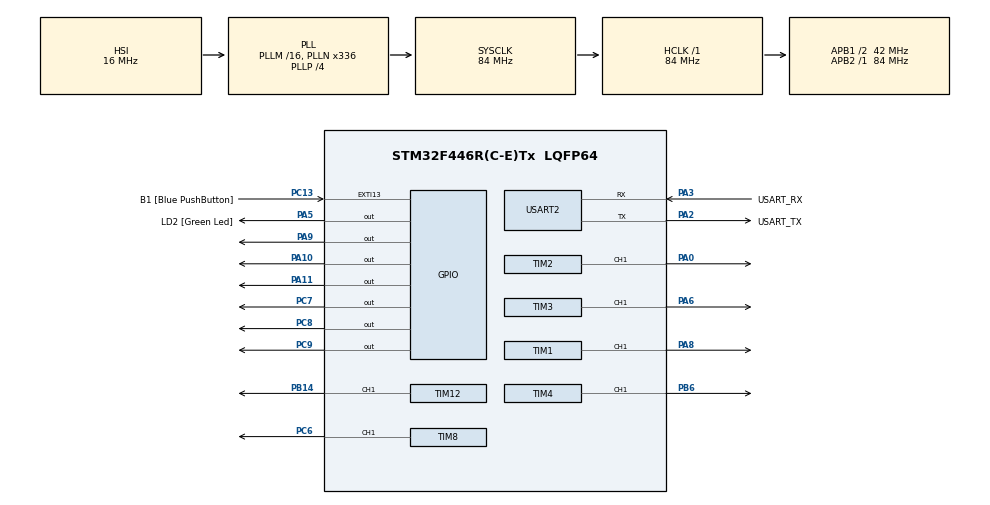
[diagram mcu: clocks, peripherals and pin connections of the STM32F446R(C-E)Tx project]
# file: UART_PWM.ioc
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Mcu.Family=STM32F4
Mcu.Name=STM32F446R(C-E)Tx
Mcu.Package=LQFP64
NVIC.PriorityGroup=NVIC_PRIORITYGROUP_0
NVIC.TIM1_TRG_COM_TIM11_IRQn=true\:0\:0\:false\:false\:true\:true\:true\:true
NVIC.TIM2_IRQn=true\:0\:0\:false\:false\:true\:true\:true\:true
NVIC.TIM3_IRQn=true\:0\:0\:false\:false\:true\:true\:true\:true
NVIC.TIM4_IRQn=true\:0\:0\:false\:false\:true\:true\:true\:true
NVIC.TIM8_BRK_TIM12_IRQn=true\:0\:0\:false\:false\:true\:true\:true\:true
NVIC.USART2_IRQn=true\:0\:0\:false\:false\:true\:true\:true\:true
PA0-WKUP.Signal=S_TIM2_CH1_ETR
PA10.Signal=GPIO_Output
PA11.Signal=GPIO_Output
PA13.GPIO_Label=TMS
PA13.Mode=Serial_Wire
PA13.Signal=SYS_JTMS-SWDIO
PA14.GPIO_Label=TCK
PA14.Mode=Serial_Wire
PA14.Signal=SYS_JTCK-SWCLK
PA2.GPIO_Label=USART_TX
PA2.Mode=Asynchronous
PA2.Signal=USART2_TX
PA3.GPIO_Label=USART_RX
PA3.Mode=Asynchronous
PA3.Signal=USART2_RX
PA5.GPIO_Label=LD2 [Green Led]
PA5.Signal=GPIO_Output
PA6.Signal=S_TIM3_CH1
PA8.Signal=S_TIM1_CH1
PA9.Signal=GPIO_Output
PB14.Signal=S_TIM12_CH1
PB3.GPIO_Label=SWO
PB3.Signal=SYS_JTDO-SWO
PB6.Signal=S_TIM4_CH1
PC13.GPIO_Label=B1 [Blue PushButton]
PC13.GPIO_ModeDefaultEXTI=GPIO_MODE_IT_FALLING
PC13.Signal=GPXTI13
PC14-OSC32_IN.Mode=LSE-External-Oscillator
PC14-OSC32_IN.Signal=RCC_OSC32_IN
PC15-OSC32_OUT.Mode=LSE-External-Oscillator
PC15-OSC32_OUT.Signal=RCC_OSC32_OUT
PC6.Signal=S_TIM8_CH1
PC7.Signal=GPIO_Output
PC8.Signal=GPIO_Output
PC9.Signal=GPIO_Output
PH0-OSC_IN.Mode=HSE-External-Oscillator
PH0-OSC_IN.Signal=RCC_OSC_IN
PH1-OSC_OUT.Mode=HSE-External-Oscillator
PH1-OSC_OUT.Signal=RCC_OSC_OUT
ProjectManager.HeapSize=0x200
ProjectManager.StackSize=0x400
ProjectManager.TargetToolchain=STM32CubeIDE
RCC.48MHZClocksFreq_Value=84000000
RCC.AHBFreq_Value=84000000
RCC.APB1CLKDivider=RCC_HCLK_DIV2
RCC.APB1Freq_Value=42000000
RCC.APB1TimFreq_Value=84000000
RCC.APB2Freq_Value=84000000
RCC.APB2TimFreq_Value=84000000
RCC.CortexFreq_Value=84000000
RCC.FLatency-AdvancedSettings=FLASH_LATENCY_2
RCC.HCLKFreq_Value=84000000
RCC.HSE_VALUE=8000000
RCC.HSI_VALUE=16000000
RCC.PLLN=336
RCC.PLLP=RCC_PLLP_DIV4
RCC.SYSCLKFreq_VALUE=84000000
RCC.SYSCLKSource=RCC_SYSCLKSOURCE_PLLCLK
RCC.USBFreq_Value=168000000
RCC.VCOOutputFreq_Value=336000000
SH.S_TIM12_CH1.0=TIM12_CH1,PWM Generation1 CH1
SH.S_TIM1_CH1.0=TIM1_CH1,PWM Generation1 CH1
SH.S_TIM2_CH1_ETR.0=TIM2_CH1,PWM Generation1 CH1
SH.S_TIM3_CH1.0=TIM3_CH1,PWM Generation1 CH1
SH.S_TIM4_CH1.0=TIM4_CH1,PWM Generation1 CH1
SH.S_TIM8_CH1.0=TIM8_CH1,PWM Generation1 CH1
TIM1.Channel-PWM\ Generation1\ CH1=TIM_CHANNEL_1
TIM1.Period=100
TIM1.Pulse-PWM\ Generation1\ CH1=1
TIM12.Channel-PWM\ Generation1\ CH1=TIM_CHANNEL_1
TIM12.Period=100
TIM12.Pulse-PWM\ Generation1\ CH1=1
TIM2.Channel-PWM\ Generation1\ CH1=TIM_CHANNEL_1
TIM2.Period=100
TIM2.Pulse-PWM\ Generation1\ CH1=1
TIM3.Channel-PWM\ Generation1\ CH1=TIM_CHANNEL_1
TIM3.Period=100
TIM3.Pulse-PWM\ Generation1\ CH1=1
TIM4.Channel-PWM\ Generation1\ CH1=TIM_CHANNEL_1
TIM4.Period=100
TIM4.Pulse-PWM\ Generation1\ CH1=1
TIM8.Channel-PWM\ Generation1\ CH1=TIM_CHANNEL_1
TIM8.Period=100
TIM8.Pulse-PWM\ Generation1\ CH1=1
USART2.VirtualMode=VM_ASYNC
VP_TIM11_VS_ClockSourceINT.Mode=Enable_Timer
VP_TIM12_VS_ClockSourceINT.Mode=Internal
VP_TIM1_VS_ClockSourceINT.Mode=Internal
VP_TIM2_VS_ClockSourceINT.Mode=Internal
VP_TIM3_VS_ClockSourceINT.Mode=Internal
VP_TIM4_VS_ClockSourceINT.Mode=Internal
VP_TIM8_VS_ClockSourceINT.Mode=Internal
board=NUCLEO-F446RE

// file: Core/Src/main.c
/* USER CODE BEGIN Header */
/**
  ******************************************************************************
  * @file           : main.c
  * @brief          : Main program body
  ******************************************************************************
  * @attention
  *
  * Copyright (c) 2024 STMicroelectronics.
  * All rights reserved.
  *
  * This software is licensed under terms that can be found in the LICENSE file
  * in the root directory of this software component.
  * If no LICENSE file comes with this software, it is provided AS-IS.
  *
  ******************************************************************************
  */
/* USER CODE END Header */
#include "main.h"

/* USER CODE BEGIN Includes */
#include <string.h>
#include <stdio.h>
#include <stdlib.h>
#include "UARTBuffer.h"
/* USER CODE END Includes */

TIM_HandleTypeDef htim1;
TIM_HandleTypeDef htim2;
TIM_HandleTypeDef htim3;
TIM_HandleTypeDef htim4;
TIM_HandleTypeDef htim8;
TIM_HandleTypeDef htim11;
TIM_HandleTypeDef htim12;

UART_HandleTypeDef huart2;

/* USER CODE BEGIN PV */

/* UART VARIABLES: */

// receive
uint8_t rx_indx;
uint8_t rx_data[2]; // how much data are we receiving at a time (2 bytes currently)
uint8_t rx_buffer[100];
uint8_t transfer_cplt; // flag that tells us when transfer is complete

// UART buffer
UartBuffer IK_Message_Buffer;

/* MOTOR VARIABLES: */

// for counting steps left for each motor
int motor1_steps = 0;
int motor2_steps = 0;
int motor3_steps = 0;
int motor4_steps = 0;
int motor5_steps = 0;
int motor6_steps = 0;

// for holding acceleration and decleration constants for each motor (calculated after parsing uart message)
/*
 * acceleration_constant = (total_motor_steps * 8) / 10
 * deceleration_constant = (total_motor_steps * 2) / 10
 */
uint16_t accel1, decel1;
uint16_t accel2, decel2;
uint16_t accel3, decel3;
uint16_t accel4, decel4;
uint16_t accel5, decel5;
uint16_t accel6, decel6;

// incrementer/decrementer for each motor based on frequency provided at uart command
uint16_t incrementer_decrementer1 = 0;
uint16_t incrementer_decrementer2 = 0;
uint16_t incrementer_decrementer3 = 0;
uint16_t incrementer_decrementer4 = 0;
uint16_t incrementer_decrementer5 = 0;
uint16_t incrementer_decrementer6 = 0;

// current frequencies in SPS
uint16_t current_freq1 = 0;
uint16_t current_freq2 = 0;
uint16_t current_freq3 = 0;
uint16_t current_freq4 = 0;
uint16_t current_freq5 = 0;
uint16_t current_freq6 = 0;

// total frequencies needed to meet in SPS
uint16_t total_freq1 = 0;
uint16_t total_freq2 = 0;
uint16_t total_freq3 = 0;
uint16_t total_freq4 = 0;
uint16_t total_freq5 = 0;
uint16_t total_freq6 = 0;

/* USER CODE END PV */

void SystemClock_Config(void);
static void MX_GPIO_Init(void);
static void MX_USART2_UART_Init(void);
static void MX_TIM1_Init(void);
static void MX_TIM2_Init(void);
static void MX_TIM3_Init(void);
static void MX_TIM4_Init(void);
static void MX_TIM8_Init(void);
static void MX_TIM12_Init(void);
static void MX_TIM11_Init(void);

int main(void)
{

  /* MCU Configuration--------------------------------------------------------*/

  /* Reset of all peripherals, Initializes the Flash interface and the Systick. */
  HAL_Init();

  /* Configure the system clock */
  SystemClock_Config();

  /* Initialize all configured peripherals */
  MX_GPIO_Init();
  MX_USART2_UART_Init();
  MX_TIM1_Init();
  MX_TIM2_Init();
  MX_TIM3_Init();
  MX_TIM4_Init();
  MX_TIM8_Init();
  MX_TIM12_Init();
  MX_TIM11_Init();
  /* USER CODE BEGIN 2 */

  // start UART:
  HAL_UART_Receive_IT(&huart2, rx_data, 1); // interrupt based UART receive

  // initialize UART buffer:
  initializeBuffer(&IK_Message_Buffer);

  /* USER CODE END 2 */

  /* Infinite loop */
  while (1)
  {

    /* USER CODE BEGIN 3 */
	  if (motor1_steps == 0 && motor2_steps == 0 && motor3_steps == 0 && motor4_steps == 0 && motor5_steps == 0 && motor6_steps == 0) {
		  // now we can pop off of the UART buffer and re-instantiate all of our variables
		  UartMessage recent_command = removeFromBuffer(&IK_Message_Buffer, &huart2);
		  if (!(strcmp(recent_command.message, "\0"))) {
			  // stop timer 11
			  HAL_TIM_Base_Stop_IT(&htim11); // start again when motor command comes through
		  } // if there are no messages to pop, we'll continue polling
		  else {
			  char command[6];
			  int motorValue1, motorFrequency1, motorValue2, motorFrequency2, motorValue3, motorFrequency3, motorValue4, motorFrequency4, motorValue5, motorFrequency5, motorValue6, motorFrequency6;
			  /* command - MOTOR
			   * motorValuen - how many pulses are being sent to the motor
			   * motorFrequencyn - in units of [steps per second]
			   */

			  /*
			   * Direction Pins
			   * PA11 - motor 1
			   * PA10 - motor 2
			   * PA9  - motor 3
			   * PC9  - motor 4
			   * PC8  - motor 5
			   * PC7  - motor 6
			   *
			   * for PWM:
			   * PA8  - motor 1
			   * PA0  - motor 2
			   * PA6  - motor 3
			   * PB6  - motor 4
			   * PC6  - motor 5
			   * PB14 - motor 6
			   *
			   * for UART:
			   * PA2 = UART_TX
			   * PA3 = UART_RX
			   *
			   */

			  if (sscanf((char *)recent_command.message, "%s %d %d %d %d %d %d %d %d %d %d %d %d", command, &motorValue1, &motorFrequency1, &motorValue2, &motorFrequency2, &motorValue3, &motorFrequency3, &motorValue4, &motorFrequency4, &motorValue5, &motorFrequency5, &motorValue6, &motorFrequency6) == 13) {

				  if (!(strcmp(command, "MOTOR"))) { // move motor N pulses

					  // populate counter for the number of steps left
					  motor1_steps = motorValue1;
					  motor2_steps = motorValue2;
					  motor3_steps = motorValue3;
					  motor4_steps = motorValue4;
					  motor5_steps = motorValue5;
					  motor6_steps = motorValue6;

					  // populate total frequency trying to reach
					  total_freq1 = motorFrequency1;
					  total_freq2 = motorFrequency2;
					  total_freq3 = motorFrequency3;
					  total_freq4 = motorFrequency4;
					  total_freq5 = motorFrequency5;
					  total_freq6 = motorFrequency6;

					  // populate current frequency that timer will initially run at
					  current_freq1 = motorFrequency1 / 2;
					  current_freq2 = motorFrequency2 / 2;
					  current_freq3 = motorFrequency3 / 2;
					  current_freq4 = motorFrequency4 / 2;
					  current_freq5 = motorFrequency5 / 2;
					  current_freq6 = motorFrequency6 / 2;

					  // calculate the acceleration and deceleration constants here
					  accel1 = (motorValue1 * 8) / 10;
					  decel1 = (motorValue1 * 2) / 10;
					  accel2 = (motorValue2 * 8) / 10;
					  decel2 = (motorValue2 * 2) / 10;
					  accel3 = (motorValue3 * 8) / 10;
					  decel3 = (motorValue3 * 2) / 10;
					  accel4 = (motorValue4 * 8) / 10;
					  decel4 = (motorValue4 * 2) / 10;
					  accel5 = (motorValue5 * 8) / 10;
					  decel5 = (motorValue5 * 2) / 10;
					  accel6 = (motorValue6 * 8) / 10;
					  decel6 = (motorValue6 * 2) / 10;

					  // set direction pins
					  if (motorValue1 < 0) HAL_GPIO_WritePin(GPIOA, GPIO_PIN_11, GPIO_PIN_RESET); // set direction pin low for negative
					  else HAL_GPIO_WritePin(GPIOA, GPIO_PIN_11, GPIO_PIN_SET); // set direction pin high for positive

					  if (motorValue2 < 0) HAL_GPIO_WritePin(GPIOA, GPIO_PIN_10, GPIO_PIN_RESET);
					  else HAL_GPIO_WritePin(GPIOA, GPIO_PIN_10, GPIO_PIN_SET);

					  if (motorValue3 < 0) HAL_GPIO_WritePin(GPIOA, GPIO_PIN_9, GPIO_PIN_RESET);
					  else HAL_GPIO_WritePin(GPIOA, GPIO_PIN_9, GPIO_PIN_SET);

					  if (motorValue4 < 0) HAL_GPIO_WritePin(GPIOC, GPIO_PIN_9, GPIO_PIN_RESET);
					  else HAL_GPIO_WritePin(GPIOC, GPIO_PIN_9, GPIO_PIN_SET);

					  if (motorValue5 < 0) HAL_GPIO_WritePin(GPIOC, GPIO_PIN_8, GPIO_PIN_RESET);
					  else HAL_GPIO_WritePin(GPIOC, GPIO_PIN_8, GPIO_PIN_SET);

					  if (motorValue6 < 0) HAL_GPIO_WritePin(GPIOC, GPIO_PIN_7, GPIO_PIN_RESET);
					  else HAL_GPIO_WritePin(GPIOC, GPIO_PIN_7, GPIO_PIN_SET);

					  // calculate incrementer for acceleration based GPIO:
					  incrementer_decrementer1 = ((((84000000 / total_freq1) - (84000000 / (total_freq1 / 2))) / 2) + (84000000 / total_freq1)) * (decel1 / 65535);
					  incrementer_decrementer2 = ((((84000000 / total_freq2) - (84000000 / (total_freq2 / 2))) / 2) + (84000000 / total_freq2)) * (decel2 / 65535);
					  incrementer_decrementer3 = ((((84000000 / total_freq3) - (84000000 / (total_freq3 / 2))) / 2) + (84000000 / total_freq3)) * (decel3 / 65535);
					  incrementer_decrementer4 = ((((84000000 / total_freq4) - (84000000 / (total_freq4 / 2))) / 2) + (84000000 / total_freq4)) * (decel4 / 65535);
					  incrementer_decrementer5 = ((((84000000 / total_freq5) - (84000000 / (total_freq5 / 2))) / 2) + (84000000 / total_freq5)) * (decel5 / 65535);
					  incrementer_decrementer6 = ((((84000000 / total_freq6) - (84000000 / (total_freq6 / 2))) / 2) + (84000000 / total_freq6)) * (decel6 / 65535);

					  // __HAL_TIM_SET_AUTORELOAD(__HANDLE__, __AUTORELOAD__)
					  // change period to whatever period oughta be
					  __HAL_TIM_SET_AUTORELOAD(&htim1, (84000000) / (motorFrequency1 / 2));
					  __HAL_TIM_SET_AUTORELOAD(&htim2, (84000000) / (motorFrequency2 / 2));
					  __HAL_TIM_SET_AUTORELOAD(&htim3, (84000000) / (motorFrequency3 / 2));
					  __HAL_TIM_SET_AUTORELOAD(&htim4, (84000000) / (motorFrequency4 / 2));
					  __HAL_TIM_SET_AUTORELOAD(&htim8, (84000000) / (motorFrequency5 / 2));
					  __HAL_TIM_SET_AUTORELOAD(&htim12, (84000000) / (motorFrequency6 / 2));

					  __disable_irq();

					  // start motors again (at frequency of motorFrequencyn / 2)
					  if (motor1_steps != 0) HAL_TIM_PWM_Start_IT(&htim1, TIM_CHANNEL_1);
					  if (motor2_steps != 0) HAL_TIM_PWM_Start_IT(&htim2, TIM_CHANNEL_1);
					  if (motor3_steps != 0) HAL_TIM_PWM_Start_IT(&htim3, TIM_CHANNEL_1);
					  if (motor4_steps != 0) HAL_TIM_PWM_Start_IT(&htim4, TIM_CHANNEL_1);
					  if (motor5_steps != 0) HAL_TIM_PWM_Start_IT(&htim8, TIM_CHANNEL_1);
					  if (motor6_steps != 0) HAL_TIM_PWM_Start_IT(&htim12, TIM_CHANNEL_1);

					  // start timer 11
					  HAL_TIM_Base_Start_IT(&htim11);

					  __enable_irq();

					  // just to see some signs of life
					  HAL_GPIO_TogglePin(GPIOA, GPIO_PIN_5);
				  }
			  }
		  }
	  }
  }
  /* USER CODE END 3 */
}

void SystemClock_Config(void)
{
  RCC_OscInitTypeDef RCC_OscInitStruct = {0};
  RCC_ClkInitTypeDef RCC_ClkInitStruct = {0};

  /** Configure the main internal regulator output voltage
  */
  __HAL_RCC_PWR_CLK_ENABLE();
  __HAL_PWR_VOLTAGESCALING_CONFIG(PWR_REGULATOR_VOLTAGE_SCALE3);

  /** Initializes the RCC Oscillators according to the specified parameters
  * in the RCC_OscInitTypeDef structure.
  */
  RCC_OscInitStruct.OscillatorType = RCC_OSCILLATORTYPE_HSI;
  RCC_OscInitStruct.HSIState = RCC_HSI_ON;
  RCC_OscInitStruct.HSICalibrationValue = RCC_HSICALIBRATION_DEFAULT;
  RCC_OscInitStruct.PLL.PLLState = RCC_PLL_ON;
  RCC_OscInitStruct.PLL.PLLSource = RCC_PLLSOURCE_HSI;
  RCC_OscInitStruct.PLL.PLLM = 16;
  RCC_OscInitStruct.PLL.PLLN = 336;
  RCC_OscInitStruct.PLL.PLLP = RCC_PLLP_DIV4;
  RCC_OscInitStruct.PLL.PLLQ = 2;
  RCC_OscInitStruct.PLL.PLLR = 2;
  if (HAL_RCC_OscConfig(&RCC_OscInitStruct) != HAL_OK)
  {
    Error_Handler();
  }

  /** Initializes the CPU, AHB and APB buses clocks
  */
  RCC_ClkInitStruct.ClockType = RCC_CLOCKTYPE_HCLK|RCC_CLOCKTYPE_SYSCLK
                              |RCC_CLOCKTYPE_PCLK1|RCC_CLOCKTYPE_PCLK2;
  RCC_ClkInitStruct.SYSCLKSource = RCC_SYSCLKSOURCE_PLLCLK;
  RCC_ClkInitStruct.AHBCLKDivider = RCC_SYSCLK_DIV1;
  RCC_ClkInitStruct.APB1CLKDivider = RCC_HCLK_DIV2;
  RCC_ClkInitStruct.APB2CLKDivider = RCC_HCLK_DIV1;

  if (HAL_RCC_ClockConfig(&RCC_ClkInitStruct, FLASH_LATENCY_2) != HAL_OK)
  {
    Error_Handler();
  }
}

static void MX_TIM1_Init(void)
{

  TIM_ClockConfigTypeDef sClockSourceConfig = {0};
  TIM_MasterConfigTypeDef sMasterConfig = {0};
  TIM_OC_InitTypeDef sConfigOC = {0};
  TIM_BreakDeadTimeConfigTypeDef sBreakDeadTimeConfig = {0};

  htim1.Instance = TIM1;
  htim1.Init.Prescaler = 0;
  htim1.Init.CounterMode = TIM_COUNTERMODE_UP;
  htim1.Init.Period = 100;
  htim1.Init.ClockDivision = TIM_CLOCKDIVISION_DIV1;
  htim1.Init.RepetitionCounter = 0;
  htim1.Init.AutoReloadPreload = TIM_AUTORELOAD_PRELOAD_DISABLE;
  if (HAL_TIM_Base_Init(&htim1) != HAL_OK)
  {
    Error_Handler();
  }
  sClockSourceConfig.ClockSource = TIM_CLOCKSOURCE_INTERNAL;
  if (HAL_TIM_ConfigClockSource(&htim1, &sClockSourceConfig) != HAL_OK)
  {
    Error_Handler();
  }
  if (HAL_TIM_PWM_Init(&htim1) != HAL_OK)
  {
    Error_Handler();
  }
  sMasterConfig.MasterOutputTrigger = TIM_TRGO_RESET;
  sMasterConfig.MasterSlaveMode = TIM_MASTERSLAVEMODE_DISABLE;
  if (HAL_TIMEx_MasterConfigSynchronization(&htim1, &sMasterConfig) != HAL_OK)
  {
    Error_Handler();
  }
  sConfigOC.OCMode = TIM_OCMODE_PWM1;
  sConfigOC.Pulse = 1;
  sConfigOC.OCPolarity = TIM_OCPOLARITY_HIGH;
  sConfigOC.OCNPolarity = TIM_OCNPOLARITY_HIGH;
  sConfigOC.OCFastMode = TIM_OCFAST_DISABLE;
  sConfigOC.OCIdleState = TIM_OCIDLESTATE_RESET;
  sConfigOC.OCNIdleState = TIM_OCNIDLESTATE_RESET;
  if (HAL_TIM_PWM_ConfigChannel(&htim1, &sConfigOC, TIM_CHANNEL_1) != HAL_OK)
  {
    Error_Handler();
  }
  sBreakDeadTimeConfig.OffStateRunMode = TIM_OSSR_DISABLE;
  sBreakDeadTimeConfig.OffStateIDLEMode = TIM_OSSI_DISABLE;
  sBreakDeadTimeConfig.LockLevel = TIM_LOCKLEVEL_OFF;
  sBreakDeadTimeConfig.DeadTime = 0;
  sBreakDeadTimeConfig.BreakState = TIM_BREAK_DISABLE;
  sBreakDeadTimeConfig.BreakPolarity = TIM_BREAKPOLARITY_HIGH;
  sBreakDeadTimeConfig.AutomaticOutput = TIM_AUTOMATICOUTPUT_DISABLE;
  if (HAL_TIMEx_ConfigBreakDeadTime(&htim1, &sBreakDeadTimeConfig) != HAL_OK)
  {
    Error_Handler();
  }
  HAL_TIM_MspPostInit(&htim1);

}

static void MX_TIM2_Init(void)
{

  TIM_ClockConfigTypeDef sClockSourceConfig = {0};
  TIM_MasterConfigTypeDef sMasterConfig = {0};
  TIM_OC_InitTypeDef sConfigOC = {0};

  htim2.Instance = TIM2;
  htim2.Init.Prescaler = 0;
  htim2.Init.CounterMode = TIM_COUNTERMODE_UP;
  htim2.Init.Period = 100;
  htim2.Init.ClockDivision = TIM_CLOCKDIVISION_DIV1;
  htim2.Init.AutoReloadPreload = TIM_AUTORELOAD_PRELOAD_DISABLE;
  if (HAL_TIM_Base_Init(&htim2) != HAL_OK)
  {
    Error_Handler();
  }
  sClockSourceConfig.ClockSource = TIM_CLOCKSOURCE_INTERNAL;
  if (HAL_TIM_ConfigClockSource(&htim2, &sClockSourceConfig) != HAL_OK)
  {
    Error_Handler();
  }
  if (HAL_TIM_PWM_Init(&htim2) != HAL_OK)
  {
    Error_Handler();
  }
  sMasterConfig.MasterOutputTrigger = TIM_TRGO_RESET;
  sMasterConfig.MasterSlaveMode = TIM_MASTERSLAVEMODE_DISABLE;
  if (HAL_TIMEx_MasterConfigSynchronization(&htim2, &sMasterConfig) != HAL_OK)
  {
    Error_Handler();
  }
  sConfigOC.OCMode = TIM_OCMODE_PWM1;
  sConfigOC.Pulse = 1;
  sConfigOC.OCPolarity = TIM_OCPOLARITY_HIGH;
  sConfigOC.OCFastMode = TIM_OCFAST_DISABLE;
  if (HAL_TIM_PWM_ConfigChannel(&htim2, &sConfigOC, TIM_CHANNEL_1) != HAL_OK)
  {
    Error_Handler();
  }
  HAL_TIM_MspPostInit(&htim2);

}

static void MX_TIM3_Init(void)
{

  TIM_ClockConfigTypeDef sClockSourceConfig = {0};
  TIM_MasterConfigTypeDef sMasterConfig = {0};
  TIM_OC_InitTypeDef sConfigOC = {0};

  htim3.Instance = TIM3;
  htim3.Init.Prescaler = 0;
  htim3.Init.CounterMode = TIM_COUNTERMODE_UP;
  htim3.Init.Period = 100;
  htim3.Init.ClockDivision = TIM_CLOCKDIVISION_DIV1;
  htim3.Init.AutoReloadPreload = TIM_AUTORELOAD_PRELOAD_DISABLE;
  if (HAL_TIM_Base_Init(&htim3) != HAL_OK)
  {
    Error_Handler();
  }
  sClockSourceConfig.ClockSource = TIM_CLOCKSOURCE_INTERNAL;
  if (HAL_TIM_ConfigClockSource(&htim3, &sClockSourceConfig) != HAL_OK)
  {
    Error_Handler();
  }
  if (HAL_TIM_PWM_Init(&htim3) != HAL_OK)
  {
    Error_Handler();
  }
  sMasterConfig.MasterOutputTrigger = TIM_TRGO_RESET;
  sMasterConfig.MasterSlaveMode = TIM_MASTERSLAVEMODE_DISABLE;
  if (HAL_TIMEx_MasterConfigSynchronization(&htim3, &sMasterConfig) != HAL_OK)
  {
    Error_Handler();
  }
  sConfigOC.OCMode = TIM_OCMODE_PWM1;
  sConfigOC.Pulse = 1;
  sConfigOC.OCPolarity = TIM_OCPOLARITY_HIGH;
  sConfigOC.OCFastMode = TIM_OCFAST_DISABLE;
  if (HAL_TIM_PWM_ConfigChannel(&htim3, &sConfigOC, TIM_CHANNEL_1) != HAL_OK)
  {
    Error_Handler();
  }
  HAL_TIM_MspPostInit(&htim3);

}

static void MX_TIM4_Init(void)
{

  TIM_ClockConfigTypeDef sClockSourceConfig = {0};
  TIM_MasterConfigTypeDef sMasterConfig = {0};
  TIM_OC_InitTypeDef sConfigOC = {0};

  htim4.Instance = TIM4;
  htim4.Init.Prescaler = 0;
  htim4.Init.CounterMode = TIM_COUNTERMODE_UP;
  htim4.Init.Period = 100;
  htim4.Init.ClockDivision = TIM_CLOCKDIVISION_DIV1;
  htim4.Init.AutoReloadPreload = TIM_AUTORELOAD_PRELOAD_DISABLE;
  if (HAL_TIM_Base_Init(&htim4) != HAL_OK)
  {
    Error_Handler();
  }
  sClockSourceConfig.ClockSource = TIM_CLOCKSOURCE_INTERNAL;
  if (HAL_TIM_ConfigClockSource(&htim4, &sClockSourceConfig) != HAL_OK)
  {
    Error_Handler();
  }
  if (HAL_TIM_PWM_Init(&htim4) != HAL_OK)
  {
    Error_Handler();
  }
  sMasterConfig.MasterOutputTrigger = TIM_TRGO_RESET;
  sMasterConfig.MasterSlaveMode = TIM_MASTERSLAVEMODE_DISABLE;
  if (HAL_TIMEx_MasterConfigSynchronization(&htim4, &sMasterConfig) != HAL_OK)
  {
    Error_Handler();
  }
  sConfigOC.OCMode = TIM_OCMODE_PWM1;
  sConfigOC.Pulse = 1;
  sConfigOC.OCPolarity = TIM_OCPOLARITY_HIGH;
  sConfigOC.OCFastMode = TIM_OCFAST_DISABLE;
  if (HAL_TIM_PWM_ConfigChannel(&htim4, &sConfigOC, TIM_CHANNEL_1) != HAL_OK)
  {
    Error_Handler();
  }
  HAL_TIM_MspPostInit(&htim4);

}

static void MX_TIM8_Init(void)
{

  TIM_ClockConfigTypeDef sClockSourceConfig = {0};
  TIM_MasterConfigTypeDef sMasterConfig = {0};
  TIM_OC_InitTypeDef sConfigOC = {0};
  TIM_BreakDeadTimeConfigTypeDef sBreakDeadTimeConfig = {0};

  htim8.Instance = TIM8;
  htim8.Init.Prescaler = 0;
  htim8.Init.CounterMode = TIM_COUNTERMODE_UP;
  htim8.Init.Period = 100;
  htim8.Init.ClockDivision = TIM_CLOCKDIVISION_DIV1;
  htim8.Init.RepetitionCounter = 0;
  htim8.Init.AutoReloadPreload = TIM_AUTORELOAD_PRELOAD_DISABLE;
  if (HAL_TIM_Base_Init(&htim8) != HAL_OK)
  {
    Error_Handler();
  }
  sClockSourceConfig.ClockSource = TIM_CLOCKSOURCE_INTERNAL;
  if (HAL_TIM_ConfigClockSource(&htim8, &sClockSourceConfig) != HAL_OK)
  {
    Error_Handler();
  }
  if (HAL_TIM_PWM_Init(&htim8) != HAL_OK)
  {
    Error_Handler();
  }
  sMasterConfig.MasterOutputTrigger = TIM_TRGO_RESET;
  sMasterConfig.MasterSlaveMode = TIM_MASTERSLAVEMODE_DISABLE;
  if (HAL_TIMEx_MasterConfigSynchronization(&htim8, &sMasterConfig) != HAL_OK)
  {
    Error_Handler();
  }
  sConfigOC.OCMode = TIM_OCMODE_PWM1;
  sConfigOC.Pulse = 1;
  sConfigOC.OCPolarity = TIM_OCPOLARITY_HIGH;
  sConfigOC.OCNPolarity = TIM_OCNPOLARITY_HIGH;
  sConfigOC.OCFastMode = TIM_OCFAST_DISABLE;
  sConfigOC.OCIdleState = TIM_OCIDLESTATE_RESET;
  sConfigOC.OCNIdleState = TIM_OCNIDLESTATE_RESET;
  if (HAL_TIM_PWM_ConfigChannel(&htim8, &sConfigOC, TIM_CHANNEL_1) != HAL_OK)
  {
    Error_Handler();
  }
  sBreakDeadTimeConfig.OffStateRunMode = TIM_OSSR_DISABLE;
  sBreakDeadTimeConfig.OffStateIDLEMode = TIM_OSSI_DISABLE;
  sBreakDeadTimeConfig.LockLevel = TIM_LOCKLEVEL_OFF;
  sBreakDeadTimeConfig.DeadTime = 0;
  sBreakDeadTimeConfig.BreakState = TIM_BREAK_DISABLE;
  sBreakDeadTimeConfig.BreakPolarity = TIM_BREAKPOLARITY_HIGH;
  sBreakDeadTimeConfig.AutomaticOutput = TIM_AUTOMATICOUTPUT_DISABLE;
  if (HAL_TIMEx_ConfigBreakDeadTime(&htim8, &sBreakDeadTimeConfig) != HAL_OK)
  {
    Error_Handler();
  }
  HAL_TIM_MspPostInit(&htim8);

}

static void MX_TIM11_Init(void)
{

  htim11.Instance = TIM11;
  htim11.Init.Prescaler = 0;
  htim11.Init.CounterMode = TIM_COUNTERMODE_UP;
  htim11.Init.Period = 65535;
  htim11.Init.ClockDivision = TIM_CLOCKDIVISION_DIV1;
  htim11.Init.AutoReloadPreload = TIM_AUTORELOAD_PRELOAD_DISABLE;
  if (HAL_TIM_Base_Init(&htim11) != HAL_OK)
  {
    Error_Handler();
  }

}

static void MX_TIM12_Init(void)
{

  TIM_ClockConfigTypeDef sClockSourceConfig = {0};
  TIM_OC_InitTypeDef sConfigOC = {0};

  htim12.Instance = TIM12;
  htim12.Init.Prescaler = 0;
  htim12.Init.CounterMode = TIM_COUNTERMODE_UP;
  htim12.Init.Period = 100;
  htim12.Init.ClockDivision = TIM_CLOCKDIVISION_DIV1;
  htim12.Init.AutoReloadPreload = TIM_AUTORELOAD_PRELOAD_DISABLE;
  if (HAL_TIM_Base_Init(&htim12) != HAL_OK)
  {
    Error_Handler();
  }
  sClockSourceConfig.ClockSource = TIM_CLOCKSOURCE_INTERNAL;
  if (HAL_TIM_ConfigClockSource(&htim12, &sClockSourceConfig) != HAL_OK)
  {
    Error_Handler();
  }
  if (HAL_TIM_PWM_Init(&htim12) != HAL_OK)
  {
    Error_Handler();
  }
  sConfigOC.OCMode = TIM_OCMODE_PWM1;
  sConfigOC.Pulse = 1;
  sConfigOC.OCPolarity = TIM_OCPOLARITY_HIGH;
  sConfigOC.OCFastMode = TIM_OCFAST_DISABLE;
  if (HAL_TIM_PWM_ConfigChannel(&htim12, &sConfigOC, TIM_CHANNEL_1) != HAL_OK)
  {
    Error_Handler();
  }
  HAL_TIM_MspPostInit(&htim12);

}

static void MX_USART2_UART_Init(void)
{

  huart2.Instance = USART2;
  huart2.Init.BaudRate = 115200;
  huart2.Init.WordLength = UART_WORDLENGTH_8B;
  huart2.Init.StopBits = UART_STOPBITS_1;
  huart2.Init.Parity = UART_PARITY_NONE;
  huart2.Init.Mode = UART_MODE_TX_RX;
  huart2.Init.HwFlowCtl = UART_HWCONTROL_NONE;
  huart2.Init.OverSampling = UART_OVERSAMPLING_16;
  if (HAL_UART_Init(&huart2) != HAL_OK)
  {
    Error_Handler();
  }

}

static void MX_GPIO_Init(void)
{
  GPIO_InitTypeDef GPIO_InitStruct = {0};

  /* GPIO Ports Clock Enable */
  __HAL_RCC_GPIOC_CLK_ENABLE();
  __HAL_RCC_GPIOH_CLK_ENABLE();
  __HAL_RCC_GPIOA_CLK_ENABLE();
  __HAL_RCC_GPIOB_CLK_ENABLE();

  /*Configure GPIO pin Output Level */
  HAL_GPIO_WritePin(GPIOA, LD2_Pin|GPIO_PIN_9|GPIO_PIN_10|GPIO_PIN_11, GPIO_PIN_RESET);

  /*Configure GPIO pin Output Level */
  HAL_GPIO_WritePin(GPIOC, GPIO_PIN_7|GPIO_PIN_8|GPIO_PIN_9, GPIO_PIN_RESET);

  /*Configure GPIO pin : B1_Pin */
  GPIO_InitStruct.Pin = B1_Pin;
  GPIO_InitStruct.Mode = GPIO_MODE_IT_FALLING;
  GPIO_InitStruct.Pull = GPIO_NOPULL;
  HAL_GPIO_Init(B1_GPIO_Port, &GPIO_InitStruct);

  /*Configure GPIO pins : LD2_Pin PA9 PA10 PA11 */
  GPIO_InitStruct.Pin = LD2_Pin|GPIO_PIN_9|GPIO_PIN_10|GPIO_PIN_11;
  GPIO_InitStruct.Mode = GPIO_MODE_OUTPUT_PP;
  GPIO_InitStruct.Pull = GPIO_NOPULL;
  GPIO_InitStruct.Speed = GPIO_SPEED_FREQ_LOW;
  HAL_GPIO_Init(GPIOA, &GPIO_InitStruct);

  /*Configure GPIO pins : PC7 PC8 PC9 */
  GPIO_InitStruct.Pin = GPIO_PIN_7|GPIO_PIN_8|GPIO_PIN_9;
  GPIO_InitStruct.Mode = GPIO_MODE_OUTPUT_PP;
  GPIO_InitStruct.Pull = GPIO_NOPULL;
  GPIO_InitStruct.Speed = GPIO_SPEED_FREQ_LOW;
  HAL_GPIO_Init(GPIOC, &GPIO_InitStruct);

}

/* USER CODE BEGIN 4 */

void accelerationTimerISR()
{
	// update frequency of pwm timers

	if (motor1_steps >= accel1) {
		current_freq1 += incrementer_decrementer1;
		HAL_UART_Transmit(&huart2, (uint8_t *)"Accelerating 1\n", 15, 100);
	} else if (motor1_steps <= decel1 && motor1_steps != 0) {
		current_freq1 -= incrementer_decrementer1;
		HAL_UART_Transmit(&huart2, (uint8_t *)"Decelerating 1\n", 15, 100);
	} else if (motor1_steps < accel1 && motor1_steps > decel1) {
		current_freq1 = total_freq1;
		HAL_UART_Transmit(&huart2, (uint8_t *)"Chilling 1\n", 11, 100);
	}

	if (motor2_steps >= accel2) {
		current_freq2 += incrementer_decrementer2;
	} else if (motor2_steps <= decel2 && motor2_steps != 0) {
		current_freq2 -= incrementer_decrementer2;
	} else if (motor2_steps < accel2 && motor2_steps > decel2) {
		current_freq2 = total_freq2;
	}

	if (motor3_steps >= accel3) {
		current_freq3 += incrementer_decrementer3;
	} else if (motor3_steps <= decel3 && motor3_steps != 0) {
		current_freq3 -= incrementer_decrementer3;
	} else if (motor3_steps < accel3 && motor3_steps > decel3) {
		current_freq3 = total_freq3;
	}

	if (motor4_steps >= accel4) {
		current_freq4 += incrementer_decrementer4;
	} else if (motor4_steps <= decel1 && motor4_steps != 0) {
		current_freq4 -= incrementer_decrementer4;
	} else if (motor4_steps < accel1 && motor4_steps > decel1) {
		current_freq4 = total_freq4;
	}

	if (motor5_steps >= accel5) {
		current_freq5 += incrementer_decrementer5;
	} else if (motor5_steps <= decel5 && motor5_steps != 0) {
		current_freq5 -= incrementer_decrementer5;
	} else if (motor5_steps < accel5 && motor5_steps > decel5) {
		current_freq5 = total_freq5;
	}

	if (motor6_steps >= accel6) {
		current_freq6 += incrementer_decrementer6;
	} else if (motor6_steps <= decel6 && motor6_steps != 0) {
		current_freq6 -= incrementer_decrementer6;
	} else if (motor6_steps < accel6 && motor6_steps > decel6) {
		current_freq6 = total_freq6;
	}

	// stop all timers
	HAL_TIM_PWM_Stop_IT(&htim1, TIM_CHANNEL_1);
	HAL_TIM_PWM_Stop_IT(&htim2, TIM_CHANNEL_1);
	HAL_TIM_PWM_Stop_IT(&htim3, TIM_CHANNEL_1);
	HAL_TIM_PWM_Stop_IT(&htim4, TIM_CHANNEL_1);
	HAL_TIM_PWM_Stop_IT(&htim8, TIM_CHANNEL_1);
	HAL_TIM_PWM_Stop_IT(&htim12, TIM_CHANNEL_1);

	// update all our periods now
	__HAL_TIM_SET_AUTORELOAD(&htim1, (84000000) / current_freq1);
	__HAL_TIM_SET_AUTORELOAD(&htim2, (84000000) / current_freq2);
	__HAL_TIM_SET_AUTORELOAD(&htim3, (84000000) / current_freq3);
	__HAL_TIM_SET_AUTORELOAD(&htim4, (84000000) / current_freq4);
	__HAL_TIM_SET_AUTORELOAD(&htim8, (84000000) / current_freq5);
	__HAL_TIM_SET_AUTORELOAD(&htim12, (84000000) / current_freq6);

	// start timers with new periods
	if (motor1_steps > 0) HAL_TIM_PWM_Start_IT(&htim1, TIM_CHANNEL_1);
	if (motor2_steps > 0) HAL_TIM_PWM_Start_IT(&htim2, TIM_CHANNEL_1);
	if (motor3_steps > 0) HAL_TIM_PWM_Start_IT(&htim3, TIM_CHANNEL_1);
	if (motor4_steps > 0) HAL_TIM_PWM_Start_IT(&htim4, TIM_CHANNEL_1);
	if (motor5_steps > 0) HAL_TIM_PWM_Start_IT(&htim8, TIM_CHANNEL_1);
	if (motor6_steps > 0) HAL_TIM_PWM_Start_IT(&htim12, TIM_CHANNEL_1);
}

void HAL_TIM_PeriodElapsedCallback(TIM_HandleTypeDef *htim)
{
	if (htim->Instance == TIM11)
	{
		accelerationTimerISR();
	}
}

// we come to this function after a successful receive
// huart = the uart that was configured for this receive
void HAL_UART_RxCpltCallback(UART_HandleTypeDef *huart)
{
  /* Prevent unused argument(s) compilation warning */
  UNUSED(huart);
  /* NOTE: This function should not be modified, when the callback is needed,
           the HAL_UART_RxCpltCallback could be implemented in the user file
   */
  __disable_irq();

  uint8_t i;
  if (huart->Instance == USART2) { // make sure we're working with our correct instance of UART (PA2-3 = USART2 TX/RX)

	  if (rx_indx == 0) {
		  for (i = 0; i < 100; i++) {
			  rx_buffer[i] = 0; // clear the buffer for a new message once the user clicked enter
		  }
	  }

	  if (rx_data[0] != 13) { // enter button = ascii 13
		  rx_buffer[rx_indx++] = rx_data[0]; // reading a byte at a time in our RX buffer
	  } else {

		  /* NOW NEED TO ADD THIS TO OUR UART BUFFER */
		  while (!addToBuffer(&IK_Message_Buffer, (const char *) rx_buffer, huart)) {
			  HAL_UART_Transmit(&huart2, (uint8_t *) "Buffer Full\n", 12, 100);
			  __enable_irq();
			  // if all pwm callbacks are done then we can reliably push a message off the uart buffer here
			  __disable_irq();
		  } // keep spinning until we can successfully add to the buffer

		  rx_indx = 0; // if user has clicked the enter button, compare our rx_buffer with desired string, then clear the buffer for next message
		  transfer_cplt = 1; // set flag
		  HAL_UART_Transmit(&huart2, (uint8_t *)"\n\r", 2, 100);
	  }

	  HAL_UART_Receive_IT(&huart2, rx_data, 1); // initialize to interrupt based receive
	  HAL_UART_Transmit(&huart2, rx_data, strlen((char *)rx_data), 100); // initialize to transmit as we write new data to the rx_data byte(s)

  }

  __enable_irq();
}

// this function gets called every time that *some* PWM timer sends a pulse
void HAL_TIM_PWM_PulseFinishedCallback(TIM_HandleTypeDef *htim)
{
	if (htim->Instance == TIM1) {
		// --global_motor_flag;
		if (motor1_steps != 0) --motor1_steps;
		// if (global motor flag == 0) {disable interrupt, motherfucker!};
		if (motor1_steps <= 0) {
			HAL_UART_Transmit(&huart2, (uint8_t *)"1\n", 2, 100);
			HAL_TIM_PWM_Stop_IT(&htim1, TIM_CHANNEL_1);
		}
	}
	else if (htim->Instance == TIM2) {
		// --global_motor_flag;
		if (motor2_steps != 0) --motor2_steps;
		// if (global motor flag == 0) {disable interrupt, motherfucker!};
		if (motor2_steps <= 0) {
			HAL_TIM_PWM_Stop_IT(&htim2, TIM_CHANNEL_1);
		}
	}
	else if (htim->Instance == TIM3)
    {
    	// --global_motor_flag;
		if (motor3_steps != 0) --motor3_steps;
		// if (global motor flag == 0) {disable interrupt, motherfucker!};
		if (motor3_steps <= 0) {
			HAL_TIM_PWM_Stop_IT(&htim3, TIM_CHANNEL_1);
		}
    }
	else if (htim->Instance == TIM4) {
    	// --global_motor_flag;
		if (motor4_steps != 0) --motor4_steps;
		// if (global motor flag == 0) {disable interrupt, motherfucker!};
		if (motor4_steps <= 0) {
			HAL_TIM_PWM_Stop_IT(&htim4, TIM_CHANNEL_1);
		}
	}
	else if (htim->Instance == TIM8) {
    	// --global_motor_flag;
		if (motor5_steps != 0) --motor5_steps;
		// if (global motor flag == 0) {disable interrupt, motherfucker!};
		if (motor5_steps <= 0) {
			HAL_TIM_PWM_Stop_IT(&htim8, TIM_CHANNEL_1);
		}
	}
	else if (htim->Instance == TIM12) {
    	// --global_motor_flag;
		if (motor6_steps != 0) --motor6_steps;
		// if (global motor flag == 0) {disable interrupt, motherfucker!};
		if (motor6_steps <= 0) {
			HAL_TIM_PWM_Stop_IT(&htim12, TIM_CHANNEL_1);
		}
	}
}

/* USER CODE END 4 */

void Error_Handler(void)
{
  __disable_irq();
  while (1)
  {
  }
}
